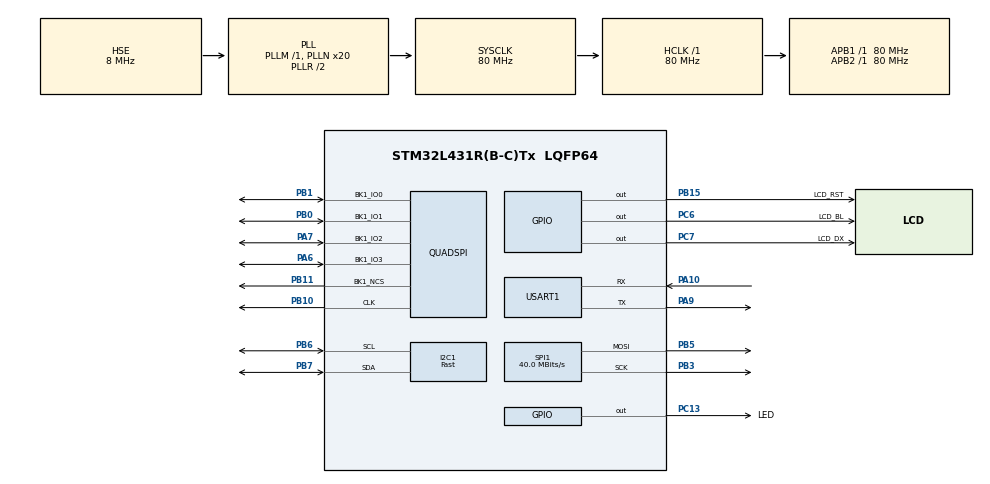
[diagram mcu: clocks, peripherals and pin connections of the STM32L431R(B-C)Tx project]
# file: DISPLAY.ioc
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Dma.Request0=SPI1_TX
Dma.SPI1_TX.0.Direction=DMA_MEMORY_TO_PERIPH
Dma.SPI1_TX.0.Instance=DMA1_Channel3
Dma.SPI1_TX.0.MemDataAlignment=DMA_MDATAALIGN_BYTE
Dma.SPI1_TX.0.MemInc=DMA_MINC_ENABLE
Dma.SPI1_TX.0.Mode=DMA_NORMAL
Dma.SPI1_TX.0.PeriphDataAlignment=DMA_PDATAALIGN_BYTE
Dma.SPI1_TX.0.PeriphInc=DMA_PINC_DISABLE
Dma.SPI1_TX.0.Priority=DMA_PRIORITY_LOW
I2C1.I2C_Speed_Mode=I2C_Fast
I2C1.Timing=0x00702991
Mcu.Family=STM32L4
Mcu.Name=STM32L431R(B-C)Tx
Mcu.Package=LQFP64
NVIC.DMA1_Channel3_IRQn=true\:0\:0\:false\:false\:true\:false\:true\:true
NVIC.PriorityGroup=NVIC_PRIORITYGROUP_4
NVIC.SPI1_IRQn=true\:0\:0\:false\:false\:true\:true\:true\:true
NVIC.TIM6_DAC_IRQn=true\:0\:0\:false\:false\:true\:true\:true\:true
NVIC.TIM7_IRQn=true\:15\:0\:false\:false\:true\:false\:true\:true
NVIC.TimeBase=TIM7_IRQn
NVIC.TimeBaseIP=TIM7
PA10.Mode=Asynchronous
PA10.Signal=USART1_RX
PA13\ (JTMS-SWDIO).Mode=Serial_Wire
PA13\ (JTMS-SWDIO).Signal=SYS_JTMS-SWDIO
PA14\ (JTCK-SWCLK).Mode=Serial_Wire
PA14\ (JTCK-SWCLK).Signal=SYS_JTCK-SWCLK
PA6.Mode=Single Bank 1
PA6.Signal=QUADSPI_BK1_IO3
PA7.Mode=Single Bank 1
PA7.Signal=QUADSPI_BK1_IO2
PA9.Mode=Asynchronous
PA9.Signal=USART1_TX
PB0.Mode=Single Bank 1
PB0.Signal=QUADSPI_BK1_IO1
PB1.Mode=Single Bank 1
PB1.Signal=QUADSPI_BK1_IO0
PB10.Mode=Single Bank 1
PB10.Signal=QUADSPI_CLK
PB11.Mode=Single Bank 1
PB11.Signal=QUADSPI_BK1_NCS
PB15.GPIO_Label=LCD_RST
PB15.GPIO_PuPd=GPIO_PULLUP
PB15.Signal=GPIO_Output
PB3\ (JTDO-TRACESWO).GPIO_PuPd=GPIO_PULLDOWN
PB3\ (JTDO-TRACESWO).Mode=TX_Only_Simplex_Unidirect_Master
PB3\ (JTDO-TRACESWO).Signal=SPI1_SCK
PB5.GPIO_PuPd=GPIO_PULLDOWN
PB5.Mode=TX_Only_Simplex_Unidirect_Master
PB5.Signal=SPI1_MOSI
PB6.Mode=I2C
PB6.Signal=I2C1_SCL
PB7.Mode=I2C
PB7.Signal=I2C1_SDA
PC13.GPIO_Label=LED
PC13.GPIO_PuPd=GPIO_PULLDOWN
PC13.PinState=GPIO_PIN_SET
PC13.Signal=GPIO_Output
PC6.GPIO_Label=LCD_BL
PC6.GPIO_PuPd=GPIO_PULLUP
PC6.Signal=GPIO_Output
PC7.GPIO_Label=LCD_DX
PC7.GPIO_PuPd=GPIO_PULLUP
PC7.GPIO_Speed=GPIO_SPEED_FREQ_VERY_HIGH
PC7.PinState=GPIO_PIN_SET
PC7.Signal=GPIO_Output
PH0-OSC_IN\ (PH0).Mode=HSE-External-Oscillator
PH0-OSC_IN\ (PH0).Signal=RCC_OSC_IN
PH1-OSC_OUT\ (PH1).Mode=HSE-External-Oscillator
PH1-OSC_OUT\ (PH1).Signal=RCC_OSC_OUT
ProjectManager.HeapSize=0x400
ProjectManager.StackSize=0x1000
ProjectManager.TargetToolchain=MDK-ARM V5.32
QUADSPI.ChipSelectHighTime=QSPI_CS_HIGH_TIME_4_CYCLE
QUADSPI.ClockPrescaler=0
QUADSPI.FifoThreshold=4
QUADSPI.FlashSize=24
QUADSPI.SampleShifting=QSPI_SAMPLE_SHIFTING_HALFCYCLE
RCC.ADCFreq_Value=32000000
RCC.AHBFreq_Value=80000000
RCC.APB1Freq_Value=80000000
RCC.APB1TimFreq_Value=80000000
RCC.APB2Freq_Value=80000000
RCC.APB2TimFreq_Value=80000000
RCC.CortexFreq_Value=80000000
RCC.HCLKFreq_Value=80000000
RCC.HSE_VALUE=8000000
RCC.HSI48_VALUE=48000000
RCC.HSI_VALUE=16000000
RCC.LSE_VALUE=32768
RCC.MSI_VALUE=4000000
RCC.PLLN=20
RCC.PLLSourceVirtual=RCC_PLLSOURCE_HSE
RCC.SYSCLKFreq_VALUE=80000000
RCC.SYSCLKSource=RCC_SYSCLKSOURCE_PLLCLK
RCC.VCOOutputFreq_Value=160000000
SPI1.BaudRatePrescaler=SPI_BAUDRATEPRESCALER_2
SPI1.CLKPhase=SPI_PHASE_2EDGE
SPI1.CLKPolarity=SPI_POLARITY_HIGH
SPI1.CalculateBaudRate=40.0 MBits/s
SPI1.DataSize=SPI_DATASIZE_8BIT
SPI1.Direction=SPI_DIRECTION_2LINES
SPI1.Mode=SPI_MODE_MASTER
SPI1.VirtualType=VM_MASTER
TIM6.AutoReloadPreload=TIM_AUTORELOAD_PRELOAD_ENABLE
TIM6.Period=1000
TIM6.Prescaler=79
TIM6.TIM_MasterOutputTrigger=TIM_TRGO_ENABLE
USART1.VirtualMode-Asynchronous=VM_ASYNC
VP_CRC_VS_CRC.Mode=CRC_Activate
VP_SYS_VS_tim7.Mode=TIM7
VP_TIM6_VS_ClockSourceINT.Mode=Enable_Timer
board=custom

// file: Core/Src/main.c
/* USER CODE BEGIN Header */
/**
  ******************************************************************************
  * @file           : main.c
  * @brief          : Main program body
  ******************************************************************************
  * @attention
  *
  * <h2><center>&copy; Copyright (c) 2022 STMicroelectronics.
  * All rights reserved.</center></h2>
  *
  * This software component is licensed by ST under BSD 3-Clause license,
  * the "License"; You may not use this file except in compliance with the
  * License. You may obtain a copy of the License at:
  *                        opensource.org/licenses/BSD-3-Clause
  *
  ******************************************************************************
  */
/* USER CODE END Header */
#include "main.h"
#include "crc.h"
#include "dma.h"
#include "i2c.h"
#include "spi.h"
#include "tim.h"
#include "usart.h"
#include "gpio.h"

/* USER CODE BEGIN Includes */
#include "st7789.h"
#include "norflash.h"
#include "ns2009.h"
#include "stdio.h"
#include "quadspi.h"
#include "lvgl.h"
#include "disp.h"
#include "indev.h"
#include "stdio.h"

//  #include "../../UI/simple_demo.h"

/* USER CODE END Includes */

/* USER CODE BEGIN PTD */
#include "gui_guider.h"           // Gui Guider 生成的界面和控件的声明
#include "events_init.h"          // Gui Guider 生成的初始化事件、回调函数
lv_ui  guider_ui;
/* USER CODE END PTD */

/* USER CODE BEGIN PV */
#ifdef __GNUC__
#define PUTCHAR_PROTOTYPE int __io_putchar(int ch)
#else
#define PUTCHAR_PROTOTYPE int fputc(int ch, FILE *f)
#endif
PUTCHAR_PROTOTYPE { HAL_UART_Transmit(&huart1 , (uint8_t *)&ch, 1, 0xFFFF); return ch; }

void toggle_led(void);

/* USER CODE END PV */

void SystemClock_Config(void);

/* USER CODE BEGIN 0 */

//AA FF 00 15 %% 00 00 00
uint8_t receivedata[1];
// extern uint8_t usart[1];
uint8_t Mode[1] = {1};
float Kd_temp,Kd_temp2,M_temp;
extern uint32_t del;
extern float ll;
typedef union{
	uint8_t bytes[4];
	float value;
}FloatConverter;

/* USER CODE END 0 */

int main(void)
{

  /* MCU Configuration--------------------------------------------------------*/

  /* Reset of all peripherals, Initializes the Flash interface and the Systick. */
  HAL_Init();

  /* Configure the system clock */
  SystemClock_Config();

  /* USER CODE BEGIN SysInit */
  MX_QUADSPI_Init();
	NORFLASH_Init();
  /* USER CODE END SysInit */

  /* Initialize all configured peripherals */
  MX_GPIO_Init();
  MX_DMA_Init();
  MX_SPI1_Init();
  MX_CRC_Init();
  MX_TIM6_Init();
  MX_I2C1_Init();
  MX_USART1_UART_Init();
  /* USER CODE BEGIN 2 */
  HAL_UARTEx_ReceiveToIdle_DMA(&huart1,receivedata,sizeof(receivedata));
	bsp_ns2009_init();
	ST7789_Init();
	HAL_TIM_Base_Start_IT(&htim6);

	lv_init();
	lv_disp_init();
	indev_init();

	setup_ui(&guider_ui);           // 初始化 UI
    events_init(&guider_ui);       // 初始化 事件

  /* USER CODE END 2 */

  /* Infinite loop */
  /* USER CODE BEGIN WHILE */
  while (1)
  {
		lv_timer_handler();
//        printf("hello world\n");
		HAL_Delay(2);
    /* USER CODE END WHILE */

  }
}

void SystemClock_Config(void)
{
  RCC_OscInitTypeDef RCC_OscInitStruct = {0};
  RCC_ClkInitTypeDef RCC_ClkInitStruct = {0};

  /** Configure the main internal regulator output voltage
  */
  if (HAL_PWREx_ControlVoltageScaling(PWR_REGULATOR_VOLTAGE_SCALE1) != HAL_OK)
  {
    Error_Handler();
  }

  /** Initializes the RCC Oscillators according to the specified parameters
  * in the RCC_OscInitTypeDef structure.
  */
  RCC_OscInitStruct.OscillatorType = RCC_OSCILLATORTYPE_HSE;
  RCC_OscInitStruct.HSEState = RCC_HSE_ON;
  RCC_OscInitStruct.PLL.PLLState = RCC_PLL_ON;
  RCC_OscInitStruct.PLL.PLLSource = RCC_PLLSOURCE_HSE;
  RCC_OscInitStruct.PLL.PLLM = 1;
  RCC_OscInitStruct.PLL.PLLN = 20;
  RCC_OscInitStruct.PLL.PLLP = RCC_PLLP_DIV7;
  RCC_OscInitStruct.PLL.PLLQ = RCC_PLLQ_DIV2;
  RCC_OscInitStruct.PLL.PLLR = RCC_PLLR_DIV2;
  if (HAL_RCC_OscConfig(&RCC_OscInitStruct) != HAL_OK)
  {
    Error_Handler();
  }

  /** Initializes the CPU, AHB and APB buses clocks
  */
  RCC_ClkInitStruct.ClockType = RCC_CLOCKTYPE_HCLK|RCC_CLOCKTYPE_SYSCLK
                              |RCC_CLOCKTYPE_PCLK1|RCC_CLOCKTYPE_PCLK2;
  RCC_ClkInitStruct.SYSCLKSource = RCC_SYSCLKSOURCE_PLLCLK;
  RCC_ClkInitStruct.AHBCLKDivider = RCC_SYSCLK_DIV1;
  RCC_ClkInitStruct.APB1CLKDivider = RCC_HCLK_DIV1;
  RCC_ClkInitStruct.APB2CLKDivider = RCC_HCLK_DIV1;

  if (HAL_RCC_ClockConfig(&RCC_ClkInitStruct, FLASH_LATENCY_4) != HAL_OK)
  {
    Error_Handler();
  }
}

/* USER CODE BEGIN 4 */
void toggle_led(void)
{
	HAL_GPIO_TogglePin(LED_GPIO_Port,LED_Pin);
}
/* USER CODE END 4 */

void HAL_TIM_PeriodElapsedCallback(TIM_HandleTypeDef *htim)
{
  /* USER CODE BEGIN Callback 0 */
static int counter=0;
  /* USER CODE END Callback 0 */
  if (htim->Instance == TIM7) {
    HAL_IncTick();
  }
  /* USER CODE BEGIN Callback 1 */

  else if (htim->Instance == TIM6)
	{
		lv_tick_inc(1);
		if(++counter%200==0)
				toggle_led();
  }
  /* USER CODE END Callback 1 */
}

void Error_Handler(void)
{
  /* USER CODE BEGIN Error_Handler_Debug */
  /* User can add his own implementation to report the HAL error return state */
  __disable_irq();
  while (1)
  {
	  printf("error");
  }
  /* USER CODE END Error_Handler_Debug */
}
